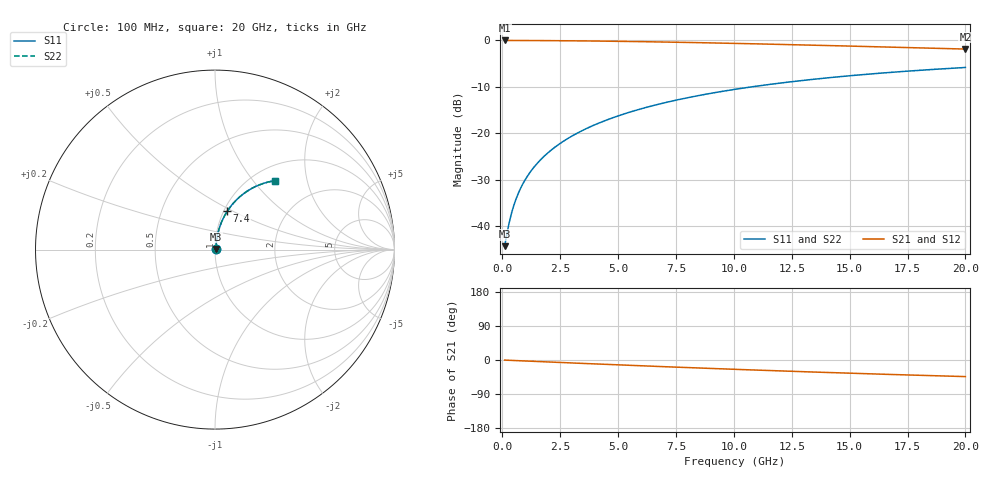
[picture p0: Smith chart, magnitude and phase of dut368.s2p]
! Touchstone file exported from HFSS 2024.1.0
!  File:  C:/UserFiles/LocalFiles/RDL_TSV_Batchsim/temp_RDL_top_368_1779608829.aedt
!  Generated:  03:49:32 PM May 24, 2026
!  Design:  RDL_top
!  Project:  temp_RDL_top_368_1779608829
!  Setup:  Setup1
!  Solution:  Sweep
! Variables:
!  dtsv = 10.80580581um
!  hbump = 3um
!  htsv = 83.08um
!  ldown = 100um
!  lrdl = 523.73um
!  p = 40
!  p1 = 56.94um
!  rhole = 1um
!  t = 450um
!  tdown = 3.915915916um
!  trdl = 3.09um
!  wdown = 15.38538539um
!  wrdl = 11.69um
# GHz S MA R 50.000000
! Terminal data exported
! Port[1] = Box2_T1
! Port[2] = Box2_T2
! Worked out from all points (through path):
!   200 points, 100 MHz to 20 GHz, reference 50 ohm
!   highest |S21| = -0.05 dB at 100 MHz (marker M1); lowest = -1.9 dB at 20 GHz (marker M2)
!   group delay of S21, straight-line fit = 6.09 ps
!   lowest |S11| = -44.3 dB at 100 MHz (marker M3), VSWR 1.01, Z = 50.5 + j0.323 ohm
!   |S11| at or under -10 dB: start of sweep to 10.8 GHz
!   |S22| runs from -44.3 to -5.9 dB; largest |S21 - S12| = 2.7e-15
!   S11 on the Smith chart (normalised r, x): 100 MHz: 1.01, +0.01; 7.4 GHz: 1.04, +0.47; 20 GHz: 1.26, +1.30
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0.1  0.006107 31.6  0.9948 -0.3  0.9948 -0.3  0.006107 31.6
! Gamma 0 0 0 0
! Port Impedance 50 0 50 0
0.3  0.01098 60.5  0.9946 -0.8  0.9946 -0.8  0.01098 60.5
0.4  0.01386 66.3  0.9945 -1.1  0.9945 -1.1  0.01386 66.3
0.5  0.01683 70.0  0.9943 -1.3  0.9943 -1.3  0.01683 70.0
0.6  0.01983 72.5  0.9942 -1.6  0.9942 -1.6  0.01983 72.5
0.8  0.02588 75.6  0.9938 -2.1  0.9938 -2.1  0.02588 75.6
1.1  0.035 78.1  0.9932 -2.9  0.9932 -2.9  0.035 78.1
1.5  0.0472 79.5  0.9922 -3.9  0.9922 -3.9  0.0472 79.6
1.8  0.05636 80.0  0.9913 -4.7  0.9913 -4.7  0.05636 80.0
2.1  0.06554 80.2  0.9903 -5.5  0.9903 -5.5  0.06554 80.2
2.7  0.0839 80.0  0.9879 -7.0  0.9879 -7.0  0.0839 80.0
3.5  0.1083 79.2  0.9839 -9.1  0.9839 -9.1  0.1083 79.2
4.2  0.1295 78.2  0.9797 -10.8  0.9797 -10.8  0.1295 78.2
5  0.1536 76.9  0.9741 -12.8  0.9741 -12.8  0.1536 76.9
5.9  0.1804 75.2  0.9669 -15.0  0.9669 -15.0  0.1804 75.2
6.8  0.2067 73.5  0.9589 -17.2  0.9589 -17.2  0.2067 73.5
7.4  0.2239 72.3  0.9532 -18.6  0.9532 -18.6  0.2239 72.3
8.7  0.2604 69.7  0.94 -21.6  0.94 -21.6  0.2604 69.8
10.1  0.2981 66.9  0.9246 -24.7  0.9246 -24.7  0.2981 67.0
13.4  0.3796 60.5  0.8853 -31.7  0.8853 -31.7  0.3796 60.5
16.7  0.45 54.4  0.8444 -38.0  0.8444 -38.0  0.4501 54.4
20  0.5096 48.9  0.8039 -43.8  0.8039 -43.8  0.5097 48.9
